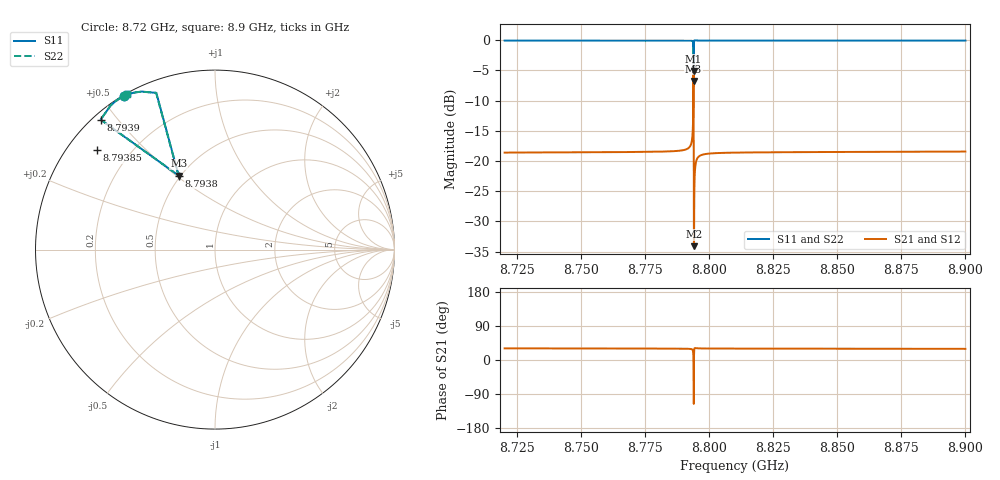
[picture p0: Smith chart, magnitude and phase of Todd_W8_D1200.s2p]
! Sonnet Data File
! From: emgraph Version : 16.52
! From Project: transmon_brgOdd
! Data is De-embedded
! Data File Written: 11/11/2017 22:28:47
!< HDATE 11/11/2017 18:22:48
!< MDATE 11/11/2017 18:22:48
!< PARAMS
!< Lj = 15.24
!< Gap = 6.0
!< Width = 10.0
!< Airgap = 6.0
!< Pwidth = 2000.0
!< Dist = 1200.0
!< END PARAMS
# GHZ S MA R 34.67000
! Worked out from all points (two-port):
!   3601 points, 8.72 GHz to 8.9 GHz, reference 34.67 ohm
!   highest |S21| = -5.12 dB at 8.7938 GHz (marker M1); lowest = -34.1 dB at 8.79395 GHz (marker M2)
!   |S21| within 3 dB of the highest: 8.793751 GHz to 8.793822 GHz (70.42 kHz wide, 0.000801 % of centre)
!   lowest |S11| = -6.8 dB at 8.7938 GHz (marker M3), VSWR 2.70, Z = 16.9 + j17.7 ohm
!   |S11| at or under -10 dB: nowhere
!   |S22| runs from -6.7 to 0.0 dB; largest |S21 - S12| = 0
!   S11 on the Smith chart (normalised r, x): 8.72 GHz: 0.00, +0.57; 8.7938 GHz: 0.49, +0.51; 8.79385 GHz: 0.09, +0.36; 8.7939 GHz: 0.02, +0.45; 8.9 GHz: 0.00, +0.58
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8.72  0.9931 120.7  0.1174 30.7  0.1174 30.7  0.9931 120.7
!< P1 F=8.72 Eeff=(5.13609477 -5.6761e-5) Z0=(34.6490765 -9.5162e-5) R=0.0 C=0.0
!< P2 F=8.72 Eeff=(5.13609477 -5.6761e-5) Z0=(34.6490765 -9.5162e-5) R=0.0 C=0.0
8.75  0.993 120.4  0.118 30.4  0.118 30.4  0.993 120.5
8.78  0.9928 120.2  0.1194 30.2  0.1194 30.2  0.9928 120.2
8.79105  0.9921 119.8  0.1251 29.8  0.1251 29.8  0.9921 119.8
8.79245  0.991 119.3  0.1323 29.3  0.1323 29.3  0.991 119.4
8.79275  0.9904 119.1  0.1363 29.0  0.1363 29.0  0.9904 119.2
8.79295  0.9896 118.9  0.1405 28.7  0.1405 28.7  0.9896 118.9
8.79325  0.9873 118.2  0.1524 27.8  0.1524 27.8  0.9873 118.2
8.7938  0.459 116.1  0.5548 -44.1  0.5548 -44.1  0.4611 116.2
8.79385  0.8593 139.9  0.2516 -102.9  0.2516 -102.9  0.8597 139.9
8.7939  0.9646 131.4  0.08323 -115.8  0.08323 -115.8  0.9647 131.3
8.79395  0.9854 127.7  0.01971 -94.8  0.01971 -94.8  0.9854 127.7
8.7945  0.9952 121.8  0.09052 31.3  0.09052 31.3  0.9952 121.8
8.7947  0.9949 121.4  0.09674 31.2  0.09674 31.2  0.9949 121.4
8.7948  0.9948 121.3  0.09891 31.1  0.09891 31.1  0.9948 121.3
8.795  0.9945 121.1  0.1022 31.0  0.1022 31.0  0.9945 121.1
8.7953  0.9943 120.9  0.1054 30.8  0.1054 30.8  0.9943 120.9
8.7968  0.9937 120.5  0.1119 30.5  0.1119 30.5  0.9937 120.5
8.81  0.9931 120.1  0.1173 30.1  0.1173 30.1  0.9931 120.1
8.84  0.9929 119.9  0.1185 29.9  0.1185 29.9  0.9929 119.9
8.87  0.9929 119.6  0.1192 29.7  0.1192 29.7  0.9929 119.7
8.9  0.9928 119.4  0.1197 29.4  0.1197 29.4  0.9928 119.5
